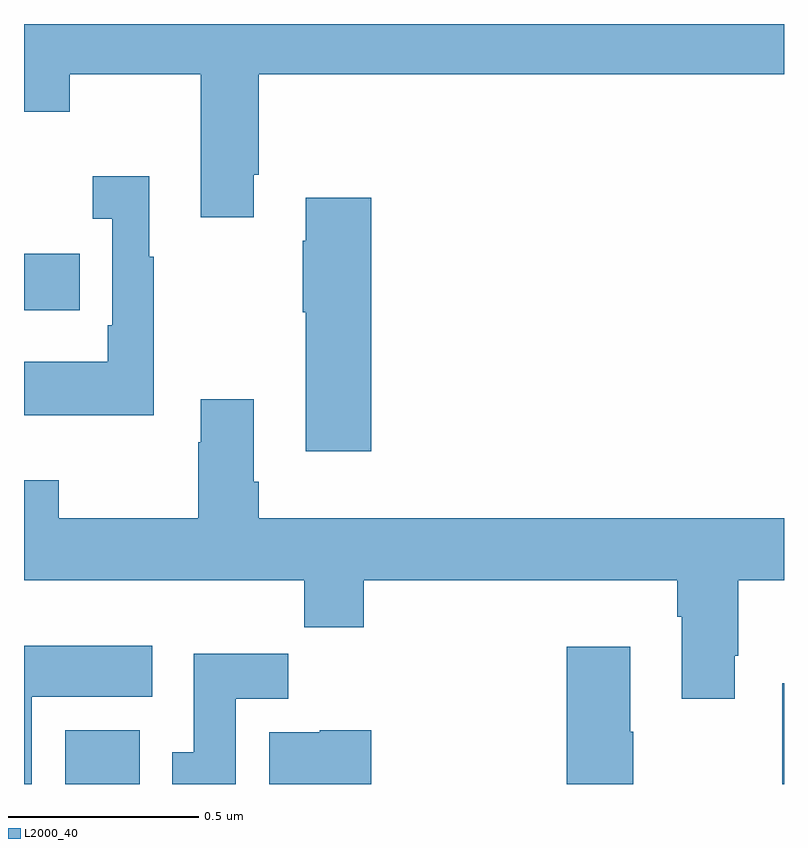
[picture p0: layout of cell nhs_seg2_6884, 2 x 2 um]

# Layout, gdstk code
import gdstk
lib = gdstk.Library(unit=1e-6, precision=1e-09)
def R(c, l, rs):  # rectangles x0, y0, x1, y1
    for r in rs: c.add(gdstk.rectangle(r[:2], r[2:], *l))
def P(c, l, *ps):  # polygons
    for p in ps: c.add(gdstk.Polygon(p, *l))
L2000_40 = (2000, 40)

nhs_seg2_6884 = lib.new_cell('nhs_seg2_6884')
R(nhs_seg2_6884, L2000_40, [(197.108,613.8,197.305,613.942), (198.996,613.8,199,614.065), (197,615.047,197.147,615.195)])
P(nhs_seg2_6884, L2000_40, [(197.605,615.403),(197.618,615.403),(197.618,615.668),(199,615.668),(199,615.8),(197,615.8),(197,615.569),(197.121,615.569),(197.121,615.668),(197.465,615.668),(197.465,615.291),(197.605,615.291)],
  [(197.341,615.187),(197.329,615.187),(197.329,615.4),(197.181,615.4),(197.181,615.287),(197.232,615.287),(197.232,615.007),(197.22,615.007),(197.22,614.911),(197,614.911),(197,614.771),(197.341,614.771)],
  [(197.914,615.343),(197.741,615.343),(197.741,615.23),(197.734,615.23),(197.734,615.041),(197.741,615.041),(197.741,614.676),(197.914,614.676)],
  [(198.871,614.137),(198.879,614.137),(198.879,614.336),(199,614.336),(199,614.5),(197.618,614.5),(197.618,614.596),(197.605,614.596),(197.605,614.812),(197.465,614.812),(197.465,614.699),(197.458,614.699),(197.458,614.5),(197.091,614.5),(197.091,614.599),(197,614.599),(197,614.336),(197.737,614.336),(197.737,614.212),(197.894,614.212),(197.894,614.336),(198.719,614.336),(198.719,614.24),(198.731,614.24),(198.731,614.025),(198.871,614.025)],
  [(197.02,614.03),(197.338,614.03),(197.338,614.164),(197,614.164),(197,613.8),(197.02,613.8)],
  [(198.603,613.937),(198.595,613.937),(198.595,614.161),(198.428,614.161),(198.428,613.8),(198.603,613.8)],
  [(197.557,614.024),(197.696,614.024),(197.696,614.143),(197.447,614.143),(197.447,613.884),(197.39,613.884),(197.39,613.8),(197.557,613.8)],
  [(197.914,613.942),(197.778,613.942),(197.778,613.936),(197.645,613.936),(197.645,613.8),(197.914,613.8)])

lib.write_gds('nhs_seg2_6884.gds')
